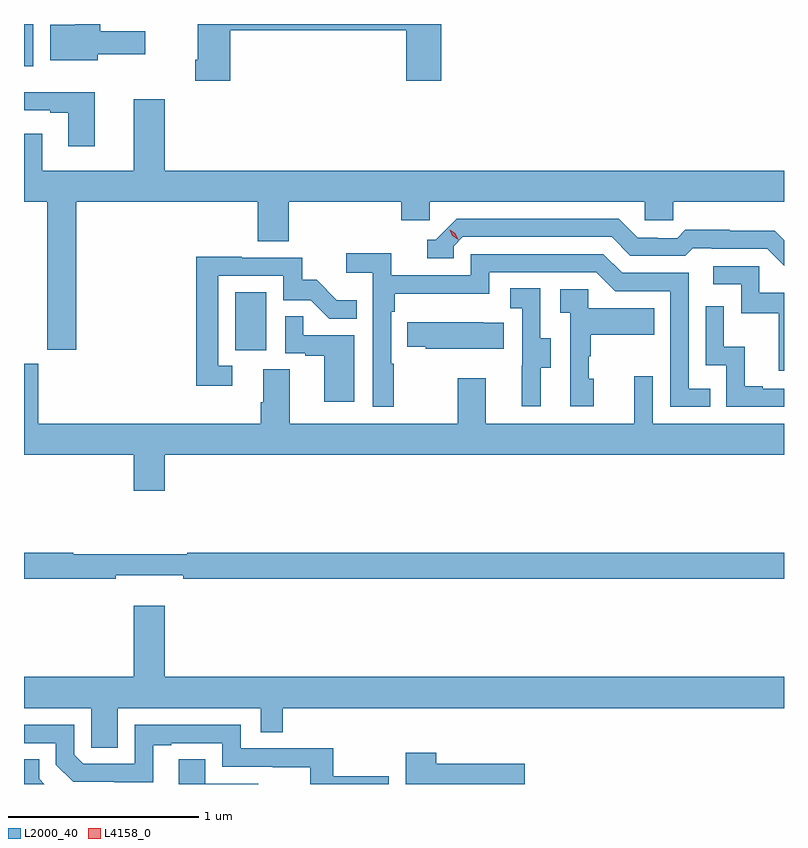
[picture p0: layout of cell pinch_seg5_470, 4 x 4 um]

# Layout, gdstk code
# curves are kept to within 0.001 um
import gdstk
lib = gdstk.Library(unit=1e-6, precision=1e-09)
def R(c, l, rs):  # rectangles x0, y0, x1, y1
    for r in rs: c.add(gdstk.rectangle(r[:2], r[2:], *l))
def P(c, l, *ps):  # polygons
    for p in ps: c.add(gdstk.Polygon(p, *l))
L2000_40 = (2000, 40)
L4158_0 = (4158, 0)

pinch_seg5_470 = lib.new_cell('pinch_seg5_470')
R(pinch_seg5_470, L2000_40, [(884.822,862.638,884.986,862.945), (883.71,864.134,883.759,864.356)])
P(pinch_seg5_470, L2000_40, [(884.098,864.197),(884.347,864.197),(884.347,864.319),(884.111,864.319),(884.111,864.356),(883.98,864.356),(883.98,864.352),(883.847,864.352),(883.847,864.164),(884.098,864.164)],
  [(884.795,864.322),(885.722,864.322),(885.722,864.057),(885.905,864.057),(885.905,864.356),(884.624,864.356),(884.624,864.169),(884.612,864.169),(884.612,864.057),(884.795,864.057)],
  [(884.083,863.998),(883.71,863.998),(883.71,863.901),(883.847,863.901),(883.847,863.889),(883.943,863.889),(883.943,863.712),(884.083,863.712)],
  [(883.985,863.42),(884.939,863.42),(884.939,863.212),(885.104,863.212),(885.104,863.42),(885.695,863.42),(885.695,863.322),(885.846,863.322),(885.846,863.42),(886.977,863.42),(886.977,863.322),(887.127,863.322),(887.127,863.42),(887.71,863.42),(887.71,863.584),(884.452,863.584),(884.452,863.959),(884.288,863.959),(884.288,863.584),(883.807,863.584),(883.807,863.779),(883.71,863.779),(883.71,863.42),(883.832,863.42),(883.832,862.641),(883.985,862.641)],
  [(887.71,863.219),(887.66,863.269),(887.424,863.269),(887.424,863.272),(887.191,863.272),(887.149,863.229),(887.046,863.229),(887.046,863.232),(886.939,863.232),(886.84,863.331),(885.987,863.331),(885.876,863.22),(885.833,863.22),(885.833,863.124),(885.972,863.124),(885.972,863.187),(886.02,863.235),(886.803,863.235),(886.902,863.136),(887.191,863.136),(887.23,863.175),(887.329,863.175),(887.329,863.172),(887.622,863.172),(887.71,863.084)],
  [(885.655,862.568),(885.642,862.568),(885.642,862.841),(885.662,862.841),(885.662,862.937),(886.158,862.937),(886.158,863.049),(886.722,863.049),(886.821,862.95),(887.112,862.95),(887.112,862.341),(887.321,862.341),(887.321,862.437),(887.208,862.437),(887.208,863.046),(886.858,863.046),(886.759,863.145),(886.062,863.145),(886.062,863.034),(885.644,863.034),(885.644,863.15),(885.405,863.15),(885.405,863.048),(885.546,863.048),(885.546,862.341),(885.655,862.341)],
  [(884.806,862.557),(884.733,862.557),(884.733,863.031),(885.075,863.031),(885.075,862.902),(885.219,862.902),(885.317,862.804),(885.461,862.804),(885.461,862.903),(885.357,862.903),(885.25,863.01),(885.174,863.01),(885.174,863.127),(884.855,863.127),(884.855,863.132),(884.617,863.132),(884.617,862.452),(884.806,862.452)],
  [(887.71,862.941),(887.58,862.941),(887.58,863.082),(887.337,863.082),(887.337,862.986),(887.484,862.986),(887.484,862.833),(887.683,862.833),(887.683,862.53),(887.71,862.53)],
  [(886.429,862.546),(886.483,862.546),(886.483,862.701),(886.428,862.701),(886.428,862.964),(886.269,862.964),(886.269,862.861),(886.332,862.861),(886.332,862.557),(886.331,862.557),(886.331,862.344),(886.429,862.344)],
  [(886.708,862.488),(886.683,862.488),(886.683,862.607),(886.693,862.607),(886.693,862.721),(887.027,862.721),(887.027,862.861),(886.68,862.861),(886.68,862.959),(886.533,862.959),(886.533,862.835),(886.584,862.835),(886.584,862.344),(886.708,862.344)],
  [(887.71,862.437),(887.599,862.437),(887.599,862.45),(887.504,862.45),(887.504,862.658),(887.394,862.658),(887.394,862.87),(887.298,862.87),(887.298,862.56),(887.406,862.56),(887.406,862.341),(887.71,862.341)],
  [(885.448,862.719),(885.179,862.719),(885.179,862.817),(885.084,862.817),(885.084,862.623),(885.191,862.623),(885.191,862.611),(885.29,862.611),(885.29,862.368),(885.448,862.368)],
  [(886.235,862.783),(886.127,862.783),(886.127,862.786),(885.727,862.786),(885.727,862.657),(885.825,862.657),(885.825,862.646),(886.235,862.646)],
  [(884.452,862.088),(887.71,862.088),(887.71,862.252),(887.019,862.252),(887.019,862.501),(886.922,862.501),(886.922,862.252),(886.141,862.252),(886.141,862.492),(885.994,862.492),(885.994,862.252),(885.109,862.252),(885.109,862.538),(884.969,862.538),(884.969,862.364),(884.957,862.364),(884.957,862.252),(883.786,862.252),(883.786,862.569),(883.71,862.569),(883.71,862.088),(884.288,862.088),(884.288,861.9),(884.452,861.9)],
  [(884.192,861.455),(884.548,861.455),(884.548,861.436),(887.71,861.436),(887.71,861.572),(884.57,861.572),(884.57,861.565),(883.97,861.565),(883.97,861.572),(883.71,861.572),(883.71,861.436),(884.192,861.436)],
  [(884.203,860.756),(884.955,860.756),(884.955,860.629),(885.071,860.629),(885.071,860.756),(887.71,860.756),(887.71,860.92),(884.452,860.92),(884.452,861.295),(884.288,861.295),(884.288,860.92),(883.71,860.92),(883.71,860.756),(884.064,860.756),(884.064,860.548),(884.203,860.548)],
  [(885.63,860.398),(885.337,860.398),(885.337,860.544),(884.85,860.544),(884.85,860.667),(884.292,860.667),(884.292,860.463),(884.022,860.463),(883.974,860.511),(883.974,860.667),(883.71,860.667),(883.71,860.571),(883.878,860.571),(883.878,860.457),(883.968,860.367),(884.389,860.366),(884.389,860.559),(884.485,860.559),(884.485,860.571),(884.754,860.571),(884.754,860.448),(885.019,860.448),(885.019,860.443),(885.216,860.443),(885.216,860.356),(885.63,860.356)],
  [(886.345,860.463),(885.88,860.463),(885.88,860.521),(885.719,860.521),(885.719,860.356),(886.345,860.356)],
  [(884.942,860.358),(884.665,860.358),(884.665,860.486),(884.525,860.486),(884.525,860.356),(884.942,860.356)],
  [(883.789,860.384),(883.789,860.486),(883.71,860.486),(883.71,860.356),(883.817,860.356)])
P(pinch_seg5_470, L4158_0, [(885.996,863.221),(885.965,863.241),(885.95,863.274),(885.95,863.274),(885.95,863.274),(885.981,863.254),(885.996,863.221),(885.996,863.221)])

lib.write_gds('pinch_seg5_470.gds')
